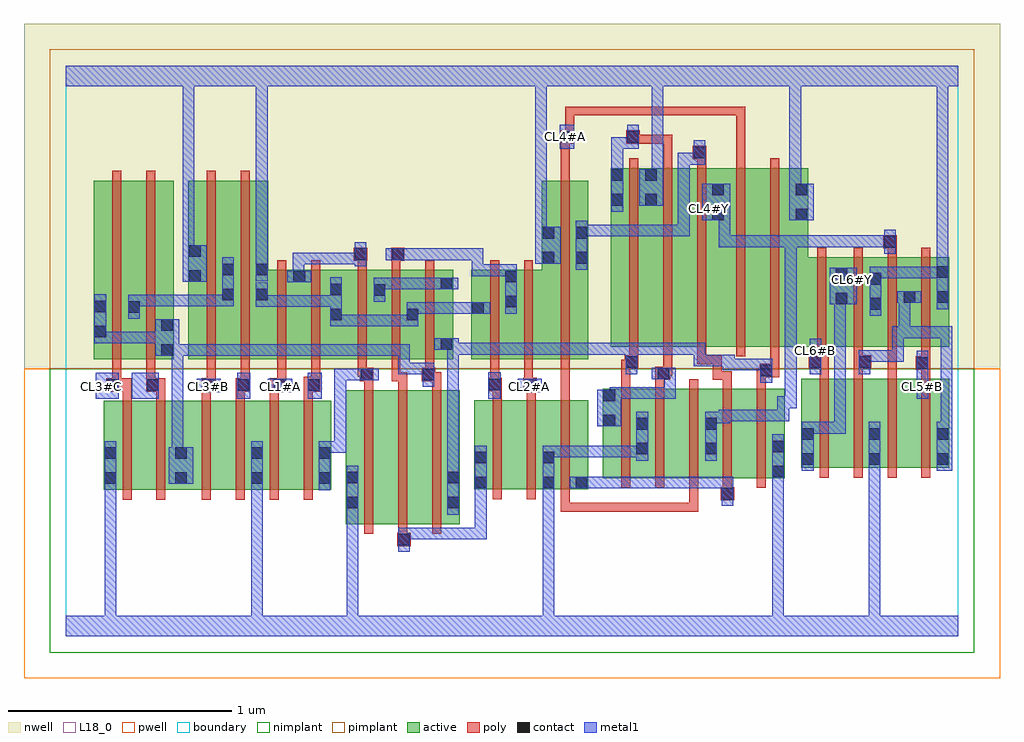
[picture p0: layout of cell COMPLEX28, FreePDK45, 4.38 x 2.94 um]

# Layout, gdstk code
import gdstk
lib = gdstk.Library(unit=1e-6, precision=1e-09)
def R(c, l, rs):  # rectangles x0, y0, x1, y1
    for r in rs: c.add(gdstk.rectangle(r[:2], r[2:], *l))
def A(c, l, x, y, w, h, nx, ny, dx, dy):  # array of equal rectangles
    R(c, l, [(x+i*dx, y+j*dy, x+i*dx+w, y+j*dy+h) for i in range(nx) for j in range(ny)])
active = (1, 0)
pwell = (2, 0)
nwell = (3, 0)
nimplant = (4, 0)
pimplant = (5, 0)
poly = (9, 0)
contact = (10, 0)
metal1 = (11, 0)
L18_0 = (18, 0)
boundary = (235, 0)

complex28 = lib.new_cell('COMPLEX28')
R(complex28, active, [(1.254,0.504,1.434,1.104), (1.434,0.504,1.586,1.104), (1.586,0.504,1.766,1.104), (1.254,0.556,1.314,1.104), (1.706,0.556,1.766,1.104), (0.17,0.658,0.35,1.058), (0.35,0.658,0.546,1.058), (0.486,0.658,0.706,1.058), (0.706,0.658,0.886,1.058), (0.826,0.658,1.01,1.058), (1.01,0.658,1.19,1.058), (1.83,0.66,1.89,1.06), (1.83,0.66,2.01,1.06), (2.01,0.66,2.194,1.06), (2.134,0.66,2.342,1.06), (2.134,0.66,2.194,0.832), (2.282,0.66,2.342,0.948), (0.17,0.68,0.23,1.058), (0.486,0.68,0.546,0.852), (0.826,0.68,0.886,1.058), (1.13,0.68,1.19,1.058), (2.406,0.71,2.614,1.11), (2.554,0.71,2.738,1.11), (2.738,0.71,2.922,1.11), (2.862,0.71,3.042,1.11), (3.042,0.71,3.222,1.11), (3.162,0.71,3.222,1.11), (2.406,0.756,2.466,1.11), (2.554,0.756,2.614,0.984), (2.862,0.756,2.922,0.984), (3.296,0.756,3.356,1.156), (3.296,0.756,3.476,1.156), (3.476,0.756,3.656,1.156), (3.596,0.756,3.656,1.156), (3.596,0.756,3.78,1.156), (3.78,0.756,3.96,1.156), (3.9,0.756,3.96,1.156), (0.124,1.244,0.336,2.044), (0.124,1.244,0.184,2.044), (0.276,1.244,0.484,2.044), (0.424,1.244,0.484,2.044), (0.548,1.244,0.756,2.044), (0.696,1.244,0.908,2.044), (0.696,1.244,0.756,2.044), (0.848,1.244,1.076,1.644), (0.848,1.244,0.908,1.676), (1.016,1.244,1.076,1.644), (1.016,1.244,1.24,1.644), (1.18,1.244,1.24,1.644), (1.18,1.244,1.436,1.644), (1.376,1.244,1.436,1.644), (1.376,1.244,1.584,1.644), (1.524,1.244,1.584,1.644), (1.524,1.244,1.736,1.644), (1.676,1.244,1.736,1.644), (1.818,1.244,1.878,1.644), (1.818,1.244,2.026,1.644), (1.966,1.244,2.026,1.644), (1.966,1.244,2.194,1.644), (2.134,1.244,2.342,2.044), (2.134,1.244,2.194,2.044), (2.282,1.244,2.342,2.044), (2.442,1.3,2.654,2.1), (2.442,1.3,2.502,2.1), (2.594,1.3,2.774,2.1), (2.774,1.3,2.954,2.1), (2.894,1.3,3.102,2.1), (3.102,1.3,3.328,2.1), (3.268,1.3,3.508,1.7), (3.448,1.3,3.66,1.7), (3.448,1.3,3.508,1.658), (3.6,1.3,3.66,1.654), (3.6,1.3,3.812,1.7), (3.752,1.3,3.96,1.7), (3.752,1.3,3.812,1.644), (3.9,1.3,3.96,1.664), (0.276,1.448,0.336,2.044), (0.548,1.452,0.608,2.044), (2.594,1.55,2.654,2.1), (2.894,1.65,2.954,2.1), (3.268,1.7,3.328,2.034)])
R(complex28, pwell, [(-0.188,-0.188,4.188,1.2)])
R(complex28, nwell, [(-0.188,1.2,4.188,2.748)])
R(complex28, nimplant, [(-0.072,-0.072,4.072,1.2)])
R(complex28, pimplant, [(-0.072,1.2,4.072,2.632)])
A(complex28, poly, 1.338, 0.46, 0.04, 0.688, 3, 1, 0.152, 0)
A(complex28, poly, 0.61, 0.614, 0.04, 0.488, 4, 1, 0.152, 0)
A(complex28, poly, 1.914, 0.616, 0.04, 0.488, 3, 1, 0.152, 0)
A(complex28, poly, 2.49, 0.666, 0.04, 0.488, 5, 1, 0.152, 0)
A(complex28, poly, 3.38, 0.712, 0.04, 0.488, 4, 1, 0.152, 0)
A(complex28, poly, 0.61, 1.062, 0.04, 0.076, 4, 1, 0.152, 0)
A(complex28, poly, 1.338, 1.108, 0.04, 0.076, 3, 1, 0.152, 0)
A(complex28, poly, 1.308, 1.2, 0.04, 0.488, 3, 1, 0.152, 0)
A(complex28, poly, 2.526, 1.256, 0.04, 0.888, 3, 1, 0.152, 0)
A(complex28, poly, 3.532, 1.256, 0.04, 0.488, 3, 1, 0.152, 0)
R(complex28, poly, [(1.486,0.404,1.546,0.464), (1.49,0.424,1.53,0.5), (2.218,0.56,2.258,0.6), (2.218,0.56,2.258,0.6), (2.218,0.56,2.258,0.6), (2.218,0.56,2.384,0.6), (2.218,0.56,2.258,0.656), (2.344,0.56,2.384,0.6), (2.344,0.56,2.384,0.6), (2.344,0.56,2.384,0.6), (2.344,0.56,2.678,0.6), (2.638,0.56,2.678,0.6), (2.638,0.56,2.678,0.6), (2.638,0.56,2.678,0.6), (2.638,0.56,2.834,0.6), (2.794,0.56,2.834,0.6), (2.794,0.56,2.834,0.6), (2.794,0.56,2.834,0.6), (2.794,0.56,2.834,0.706), (2.936,0.61,2.996,0.67), (0.254,0.614,0.294,1.102), (0.406,0.614,0.446,1.102), (2.946,0.63,2.986,0.706), (0.254,1.062,0.294,1.138), (0.406,1.062,0.446,1.138), (1.914,1.064,1.954,1.14), (2.066,1.064,2.106,1.14), (2.218,1.064,2.258,1.146), (0.18,1.098,0.294,1.158), (0.36,1.098,0.446,1.158), (0.61,1.098,0.67,1.158), (0.762,1.098,0.824,1.158), (0.914,1.098,0.988,1.158), (1.066,1.098,1.14,1.164), (1.894,1.1,1.954,1.16), (2.05,1.1,2.11,1.16), (2.218,1.106,2.258,1.146), (2.218,1.106,2.258,1.146), (2.218,1.106,2.258,1.146), (2.218,1.106,2.258,1.24), (2.49,1.114,2.53,1.24), (2.642,1.114,2.682,1.19), (2.946,1.114,2.986,1.19), (3.098,1.114,3.138,1.202), (0.208,1.118,0.248,1.158), (0.208,1.118,0.248,1.158), (0.208,1.118,0.248,1.24), (0.36,1.118,0.4,1.158), (0.36,1.118,0.4,1.158), (0.36,1.118,0.4,1.24), (0.63,1.118,0.67,1.158), (0.63,1.118,0.672,1.158), (0.632,1.118,0.672,1.24), (0.784,1.118,0.824,1.158), (0.784,1.118,0.824,1.158), (0.784,1.118,0.824,1.24), (0.948,1.118,0.988,1.158), (0.948,1.118,0.988,1.158), (0.948,1.118,0.988,1.24), (1.902,1.12,1.942,1.16), (1.902,1.12,1.942,1.16), (1.902,1.12,1.942,1.24), (2.054,1.12,2.094,1.16), (2.054,1.12,2.094,1.16), (2.054,1.12,2.094,1.24), (1.1,1.124,1.14,1.164), (1.1,1.124,1.14,1.164), (1.1,1.124,1.14,1.24), (1.318,1.144,1.378,1.204), (1.46,1.144,1.5,1.24), (1.46,1.144,1.53,1.184), (1.49,1.144,1.53,1.184), (1.49,1.144,1.53,1.184), (1.596,1.144,1.656,1.204), (1.616,1.144,1.656,1.184), (1.616,1.144,1.682,1.184), (2.642,1.15,2.71,1.21), (2.9,1.15,2.94,1.19), (2.9,1.15,2.986,1.19), (2.9,1.15,2.94,1.26), (2.946,1.15,2.986,1.19), (3.38,1.16,3.42,1.24), (3.532,1.16,3.572,1.24), (3.684,1.16,3.724,1.26), (3.836,1.16,3.876,1.236), (3.098,1.162,3.15,1.202), (3.11,1.162,3.15,1.202), (3.11,1.162,3.198,1.222), (1.308,1.164,1.348,1.24), (1.308,1.164,1.358,1.204), (1.318,1.164,1.358,1.204), (1.612,1.164,1.652,1.24), (2.67,1.17,2.71,1.21), (2.67,1.17,2.718,1.21), (2.678,1.17,2.718,1.296), (3.158,1.182,3.198,1.296), (3.81,1.196,3.876,1.256), (0.208,1.2,0.248,2.088), (0.36,1.2,0.4,2.088), (0.632,1.2,0.672,2.088), (0.784,1.2,0.824,2.088), (0.948,1.2,0.988,1.688), (1.1,1.2,1.14,1.688), (1.902,1.2,1.942,1.688), (2.054,1.2,2.094,1.688), (2.218,1.2,2.258,2.088), (2.49,1.2,2.546,1.24), (2.506,1.2,2.546,1.24), (2.506,1.2,2.566,1.26), (3.33,1.2,3.42,1.26), (3.532,1.2,3.572,1.24), (3.532,1.2,3.572,1.24), (3.532,1.2,3.61,1.26), (3.836,1.216,3.876,1.296), (3.836,1.216,3.876,1.256), (3.836,1.216,3.876,1.256), (2.526,1.22,2.566,1.296), (2.83,1.22,2.87,1.26), (2.83,1.22,2.87,1.296), (2.83,1.22,2.94,1.26), (2.9,1.22,2.94,1.26), (3.368,1.22,3.408,1.26), (3.368,1.22,3.408,1.26), (3.368,1.22,3.408,1.296), (3.532,1.22,3.572,1.296), (3.684,1.22,3.724,1.26), (3.684,1.22,3.724,1.26), (3.684,1.22,3.724,1.26), (3.684,1.22,3.724,1.296), (3.006,1.256,3.046,2.144), (3.158,1.256,3.198,2.144), (3.368,1.256,3.408,1.744), (1.308,1.648,1.348,1.724), (1.46,1.648,1.5,1.724), (1.29,1.684,1.35,1.744), (1.458,1.684,1.518,1.744), (3.684,1.704,3.724,1.78), (3.664,1.74,3.724,1.8), (2.218,2.048,2.258,2.25), (2.678,2.104,2.718,2.25), (2.83,2.104,2.87,2.18), (3.006,2.104,3.046,2.376), (2.81,2.14,2.87,2.2), (2.218,2.21,2.278,2.27), (2.512,2.21,2.572,2.27), (2.532,2.21,2.718,2.25), (2.678,2.21,2.718,2.25), (2.678,2.21,2.718,2.25), (2.678,2.21,2.718,2.25), (2.238,2.23,2.278,2.376), (2.238,2.336,2.278,2.376), (2.238,2.336,2.278,2.376), (2.238,2.336,2.278,2.376), (2.238,2.336,2.422,2.376), (2.382,2.336,2.422,2.376), (2.382,2.336,2.422,2.376), (2.382,2.336,2.422,2.376), (2.382,2.336,2.728,2.376), (2.688,2.336,2.728,2.376), (2.688,2.336,2.728,2.376), (2.688,2.336,2.728,2.376), (2.688,2.336,2.834,2.376), (2.794,2.336,2.834,2.376), (2.794,2.336,2.834,2.376), (2.794,2.336,2.834,2.376), (2.794,2.336,2.976,2.376), (2.936,2.336,2.976,2.376), (2.936,2.336,2.976,2.376), (2.936,2.336,2.976,2.376), (2.936,2.336,3.046,2.376), (3.006,2.336,3.046,2.376)])
R(complex28, contact, [(1.49,0.408,1.542,0.46), (1.258,0.574,1.31,0.626), (1.71,0.574,1.762,0.626), (2.94,0.614,2.992,0.666), (1.834,0.664,1.886,0.716), (2.138,0.664,2.19,0.716), (2.286,0.664,2.338,0.716), (0.174,0.684,0.226,0.736), (0.49,0.684,0.542,0.736), (0.83,0.684,0.882,0.736), (1.134,0.684,1.186,0.736), (1.258,0.686,1.31,0.738), (1.71,0.686,1.762,0.738), (3.166,0.714,3.218,0.766), (3.3,0.77,3.352,0.822), (3.6,0.77,3.652,0.822), (3.904,0.77,3.956,0.822), (1.834,0.776,1.886,0.828), (2.138,0.776,2.19,0.828), (0.174,0.796,0.226,0.848), (0.49,0.796,0.542,0.848), (0.83,0.796,0.882,0.848), (1.134,0.796,1.186,0.848), (2.558,0.816,2.61,0.868), (2.866,0.816,2.918,0.868), (3.166,0.826,3.218,0.878), (3.3,0.882,3.352,0.934), (3.6,0.882,3.652,0.934), (3.904,0.882,3.956,0.934), (2.558,0.928,2.61,0.98), (2.866,0.928,2.918,0.98), (2.41,0.942,2.462,0.994), (2.41,1.054,2.462,1.106), (0.184,1.102,0.236,1.154), (0.364,1.102,0.416,1.154), (0.614,1.102,0.666,1.154), (0.768,1.102,0.82,1.154), (0.932,1.102,0.984,1.154), (1.084,1.102,1.136,1.154), (1.898,1.104,1.95,1.156), (2.054,1.104,2.106,1.156), (1.322,1.148,1.374,1.2), (1.6,1.148,1.652,1.2), (2.654,1.154,2.706,1.206), (3.114,1.166,3.166,1.218), (3.814,1.2,3.866,1.252), (2.51,1.204,2.562,1.256), (3.334,1.204,3.386,1.256), (3.554,1.204,3.606,1.256), (0.428,1.258,0.48,1.31), (1.68,1.286,1.732,1.338), (0.128,1.342,0.18,1.394), (0.428,1.37,0.48,1.422), (1.184,1.418,1.236,1.47), (1.528,1.418,1.58,1.47), (1.822,1.446,1.874,1.498), (0.28,1.452,0.332,1.504), (0.128,1.454,0.18,1.506), (3.604,1.466,3.656,1.518), (1.97,1.476,2.022,1.528), (3.452,1.49,3.504,1.542), (3.756,1.496,3.808,1.548), (3.904,1.496,3.956,1.548), (0.7,1.508,0.752,1.56), (0.852,1.508,0.904,1.56), (1.38,1.528,1.432,1.58), (1.184,1.53,1.236,1.582), (1.68,1.556,1.732,1.608), (3.604,1.578,3.656,1.63), (1.02,1.588,1.072,1.64), (1.97,1.588,2.022,1.64), (0.552,1.59,0.604,1.642), (3.452,1.602,3.504,1.654), (3.904,1.608,3.956,1.66), (0.7,1.62,0.752,1.672), (0.852,1.62,0.904,1.672), (2.138,1.672,2.19,1.724), (2.286,1.672,2.338,1.724), (1.294,1.688,1.346,1.74), (1.462,1.688,1.514,1.74), (0.552,1.702,0.604,1.754), (3.668,1.744,3.72,1.796), (2.138,1.784,2.19,1.836), (2.286,1.784,2.338,1.836), (2.898,1.866,2.95,1.918), (3.272,1.866,3.324,1.918), (2.446,1.932,2.498,1.984), (2.598,1.932,2.65,1.984), (2.898,1.978,2.95,2.03), (3.272,1.978,3.324,2.03), (2.446,2.044,2.498,2.096), (2.598,2.044,2.65,2.096), (2.814,2.144,2.866,2.196), (2.222,2.214,2.274,2.266), (2.516,2.214,2.568,2.266)])
R(complex28, metal1, [(0,0,4,0.092), (0.174,0.04,0.226,0.092), (0.174,0.04,0.226,0.092), (0.174,0.04,0.226,0.092), (0.174,0.04,0.226,0.092), (0.174,0.04,0.226,0.092), (0.174,0.04,0.226,0.092), (0.174,0.04,0.226,0.092), (0.174,0.04,0.226,0.092), (0.174,0.04,0.226,0.708), (0.83,0.04,0.882,0.092), (0.83,0.04,0.882,0.092), (0.83,0.04,0.882,0.092), (0.83,0.04,0.882,0.092), (0.83,0.04,0.882,0.092), (0.83,0.04,0.882,0.092), (0.83,0.04,0.882,0.092), (0.83,0.04,0.882,0.092), (0.83,0.04,0.882,0.092), (0.83,0.04,0.882,0.092), (0.83,0.04,0.882,0.708), (1.258,0.04,1.31,0.092), (1.258,0.04,1.31,0.092), (1.258,0.04,1.31,0.092), (1.258,0.04,1.31,0.092), (1.258,0.04,1.31,0.092), (1.258,0.04,1.31,0.092), (1.258,0.04,1.31,0.092), (1.258,0.04,1.31,0.092), (1.258,0.04,1.31,0.598), (2.138,0.04,2.19,0.092), (2.138,0.04,2.19,0.092), (2.138,0.04,2.19,0.092), (2.138,0.04,2.19,0.092), (2.138,0.04,2.19,0.092), (2.138,0.04,2.19,0.092), (2.138,0.04,2.19,0.092), (2.138,0.04,2.19,0.092), (2.138,0.04,2.19,0.092), (2.138,0.04,2.19,0.092), (2.138,0.04,2.19,0.688), (3.166,0.04,3.218,0.092), (3.166,0.04,3.218,0.092), (3.166,0.04,3.218,0.092), (3.166,0.04,3.218,0.092), (3.166,0.04,3.218,0.092), (3.166,0.04,3.218,0.092), (3.166,0.04,3.218,0.092), (3.166,0.04,3.218,0.092), (3.166,0.04,3.218,0.092), (3.166,0.04,3.218,0.092), (3.166,0.04,3.218,0.738), (3.6,0.04,3.652,0.092), (3.6,0.04,3.652,0.092), (3.6,0.04,3.652,0.092), (3.6,0.04,3.652,0.092), (3.6,0.04,3.652,0.092), (3.6,0.04,3.652,0.092), (3.6,0.04,3.652,0.092), (3.6,0.04,3.652,0.092), (3.6,0.04,3.652,0.092), (3.6,0.04,3.652,0.092), (3.6,0.04,3.652,0.092), (3.6,0.04,3.652,0.092), (3.6,0.04,3.652,0.794), (1.49,0.38,1.542,0.488), (1.49,0.436,1.542,0.488), (1.49,0.436,1.542,0.488), (1.49,0.436,1.69,0.488), (1.638,0.436,1.69,0.488), (1.638,0.436,1.69,0.488), (1.638,0.436,1.69,0.488), (1.638,0.436,1.886,0.488), (1.834,0.436,1.886,0.488), (1.834,0.436,1.886,0.488), (1.834,0.436,1.886,0.488), (1.834,0.436,1.886,0.488), (1.834,0.436,1.886,0.488), (1.834,0.436,1.886,0.688), (1.258,0.546,1.31,0.766), (1.71,0.546,1.762,0.766), (2.94,0.586,2.992,0.694), (1.834,0.636,1.886,0.856), (2.138,0.636,2.19,0.688), (2.138,0.636,2.19,0.688), (2.138,0.636,2.19,0.856), (2.94,0.642,2.992,0.694), (2.94,0.642,2.992,0.702), (2.94,0.65,2.992,0.702), (2.94,0.65,2.992,0.716), (0.174,0.656,0.226,0.708), (0.174,0.656,0.226,0.708), (0.174,0.656,0.226,0.708), (0.174,0.656,0.226,0.708), (0.174,0.656,0.226,0.876), (0.83,0.656,0.882,0.708), (0.83,0.656,0.882,0.708), (0.83,0.656,0.882,0.876), (1.134,0.656,1.186,0.876), (2.258,0.664,2.366,0.716), (2.314,0.664,2.366,0.716), (2.314,0.664,2.366,0.716), (2.314,0.664,2.55,0.716), (2.498,0.664,2.55,0.716), (2.498,0.664,2.61,0.716), (2.558,0.664,2.61,0.716), (2.558,0.664,2.756,0.716), (2.704,0.664,2.756,0.716), (2.704,0.664,2.756,0.716), (2.704,0.664,2.756,0.716), (2.704,0.664,2.868,0.716), (2.816,0.664,2.868,0.716), (2.816,0.664,2.992,0.716), (0.462,0.684,0.57,0.848), (3.166,0.686,3.218,0.738), (3.166,0.686,3.218,0.738), (3.166,0.686,3.218,0.906), (1.71,0.714,1.762,1.316), (3.3,0.742,3.352,0.962), (3.6,0.742,3.652,0.962), (3.904,0.742,3.974,0.962), (2.558,0.788,2.61,1.008), (2.866,0.788,2.918,1.008), (0.474,0.796,0.526,0.848), (0.474,0.796,0.526,0.848), (0.474,0.796,0.526,1.31), (2.138,0.804,2.19,0.856), (2.138,0.804,2.19,0.856), (2.138,0.804,2.19,0.856), (2.138,0.804,2.19,0.856), (2.138,0.804,2.38,0.856), (2.328,0.804,2.38,0.856), (2.328,0.804,2.5,0.856), (2.448,0.804,2.5,0.856), (2.448,0.804,2.5,0.856), (2.448,0.804,2.5,0.856), (2.448,0.804,2.61,0.856), (1.134,0.824,1.256,0.876), (1.204,0.824,1.256,0.876), (1.204,0.824,1.256,1.2), (3.3,0.91,3.496,0.962), (3.444,0.91,3.496,0.962), (3.444,0.91,3.496,0.962), (3.444,0.91,3.496,0.962), (3.444,0.91,3.496,0.962), (3.444,0.91,3.496,0.962), (3.444,0.91,3.496,0.962), (3.444,0.91,3.496,0.962), (3.444,0.91,3.496,1.542), (3.922,0.91,3.974,0.962), (3.922,0.91,3.974,0.962), (3.922,0.91,3.974,1.39), (2.382,0.942,2.49,1.106), (2.866,0.956,2.978,1.008), (2.926,0.956,2.978,1.016), (2.926,0.964,3.108,1.016), (3.056,0.964,3.108,1.016), (3.056,0.964,3.108,1.016), (3.056,0.964,3.108,1.016), (3.056,0.964,3.242,1.016), (3.19,0.964,3.242,1.016), (3.19,0.964,3.242,1.076), (3.19,1.024,3.276,1.076), (3.224,1.024,3.276,1.798), (2.438,1.054,2.49,1.106), (2.438,1.054,2.49,1.118), (0.134,1.066,0.236,1.182), (0.294,1.066,0.416,1.182), (0.768,1.066,0.826,1.182), (1.084,1.066,1.146,1.182), (1.894,1.066,1.95,1.184), (2.438,1.066,2.61,1.118), (2.558,1.066,2.61,1.118), (2.558,1.066,2.734,1.118), (2.682,1.066,2.734,1.118), (2.682,1.066,2.734,1.118), (2.682,1.066,2.734,1.118), (2.682,1.066,2.734,1.206), (3.814,1.066,3.866,1.28), (0.586,1.094,0.694,1.156), (0.904,1.094,1.014,1.156), (2.026,1.094,2.134,1.156), (1.6,1.12,1.652,1.228), (3.114,1.138,3.166,1.246), (1.204,1.148,1.256,1.2), (1.204,1.148,1.346,1.2), (1.294,1.148,1.402,1.2), (2.626,1.154,2.734,1.206), (2.682,1.154,2.734,1.206), (2.682,1.154,2.734,1.206), (1.49,1.176,1.542,1.228), (1.49,1.176,1.542,1.228), (1.49,1.176,1.652,1.228), (1.49,1.176,1.542,1.31), (2.51,1.176,2.562,1.316), (3.334,1.176,3.386,1.334), (3.554,1.176,3.606,1.284), (2.946,1.194,2.998,1.246), (2.946,1.194,2.998,1.246), (2.946,1.194,3.108,1.246), (2.946,1.194,2.998,1.264), (3.056,1.194,3.108,1.246), (3.056,1.194,3.166,1.246), (2.814,1.212,2.998,1.264), (2.814,1.212,2.866,1.316), (3.554,1.232,3.606,1.284), (3.554,1.232,3.606,1.284), (3.554,1.232,3.756,1.284), (3.704,1.232,3.756,1.39), (0.4,1.258,0.508,1.422), (0.456,1.258,0.508,1.31), (0.456,1.258,0.526,1.31), (0.474,1.258,0.526,1.31), (0.474,1.258,0.526,1.31), (0.474,1.258,0.636,1.31), (0.584,1.258,0.636,1.31), (0.584,1.258,0.772,1.31), (0.72,1.258,0.772,1.31), (0.72,1.258,0.772,1.31), (0.72,1.258,0.772,1.31), (0.72,1.258,0.882,1.31), (0.83,1.258,0.882,1.31), (0.83,1.258,0.882,1.31), (0.83,1.258,0.882,1.31), (0.83,1.258,1.014,1.31), (0.962,1.258,1.014,1.31), (0.962,1.258,1.014,1.31), (0.962,1.258,1.014,1.31), (0.962,1.258,1.178,1.31), (1.126,1.258,1.178,1.31), (1.126,1.258,1.178,1.31), (1.126,1.258,1.178,1.31), (1.126,1.258,1.366,1.31), (1.314,1.258,1.366,1.31), (1.314,1.258,1.366,1.31), (1.314,1.258,1.366,1.31), (1.314,1.258,1.542,1.31), (1.71,1.264,1.762,1.316), (1.71,1.264,1.762,1.316), (1.71,1.264,1.912,1.316), (1.71,1.264,1.762,1.338), (1.86,1.264,1.912,1.316), (1.86,1.264,1.912,1.316), (1.86,1.264,1.912,1.316), (1.86,1.264,2.022,1.316), (1.97,1.264,2.022,1.316), (1.97,1.264,2.022,1.316), (1.97,1.264,2.022,1.316), (1.97,1.264,2.2,1.316), (2.148,1.264,2.2,1.316), (2.148,1.264,2.2,1.316), (2.148,1.264,2.2,1.316), (2.148,1.264,2.38,1.316), (2.328,1.264,2.38,1.316), (2.328,1.264,2.38,1.316), (2.328,1.264,2.38,1.316), (2.328,1.264,2.562,1.316), (2.51,1.264,2.61,1.316), (2.558,1.264,2.61,1.316), (2.558,1.264,2.742,1.316), (2.69,1.264,2.742,1.316), (2.69,1.264,2.742,1.316), (2.69,1.264,2.742,1.316), (2.69,1.264,2.866,1.316), (1.652,1.286,1.762,1.338), (1.71,1.286,1.762,1.338), (0.128,1.314,0.18,1.366), (0.128,1.314,0.18,1.366), (0.128,1.314,0.18,1.534), (0.128,1.314,0.29,1.366), (0.238,1.314,0.29,1.366), (0.238,1.314,0.29,1.366), (0.238,1.314,0.29,1.366), (0.238,1.314,0.452,1.366), (3.704,1.338,3.786,1.39), (3.734,1.338,3.786,1.39), (3.734,1.338,3.974,1.39), (3.734,1.338,3.786,1.548), (3.922,1.338,3.974,1.39), (3.922,1.338,3.974,1.39), (3.922,1.338,3.974,1.39), (1.184,1.39,1.236,1.442), (1.184,1.39,1.236,1.442), (1.184,1.39,1.236,1.61), (1.184,1.39,1.366,1.442), (1.314,1.39,1.366,1.442), (1.314,1.39,1.366,1.442), (1.314,1.39,1.366,1.442), (1.314,1.39,1.542,1.442), (1.49,1.39,1.542,1.442), (1.49,1.39,1.58,1.442), (1.528,1.39,1.58,1.498), (0.28,1.424,0.332,1.532), (3.604,1.438,3.656,1.658), (1.528,1.446,1.58,1.498), (1.528,1.446,1.58,1.498), (1.528,1.446,1.69,1.498), (1.638,1.446,1.69,1.498), (1.638,1.446,1.69,1.498), (1.638,1.446,1.69,1.498), (1.638,1.446,1.846,1.498), (1.794,1.446,1.902,1.498), (1.97,1.448,2.022,1.668), (3.904,1.468,3.956,1.688), (0.852,1.478,1.068,1.53), (0.852,1.478,0.904,1.532), (1.016,1.478,1.068,1.53), (1.016,1.478,1.068,1.53), (1.016,1.478,1.068,1.53), (1.016,1.478,1.236,1.53), (0.28,1.48,0.332,1.532), (0.28,1.48,0.332,1.532), (0.28,1.48,0.442,1.532), (0.39,1.48,0.442,1.532), (0.39,1.48,0.636,1.532), (0.584,1.48,0.636,1.532), (0.584,1.48,0.636,1.532), (0.584,1.48,0.636,1.532), (0.584,1.48,0.752,1.532), (0.7,1.48,0.752,1.7), (0.852,1.48,0.904,1.532), (0.852,1.48,0.904,1.588), (3.424,1.49,3.546,1.654), (3.444,1.49,3.496,1.542), (3.444,1.49,3.496,1.542), (3.728,1.496,3.836,1.548), (1.38,1.5,1.432,1.608), (1.38,1.556,1.542,1.608), (1.49,1.556,1.542,1.608), (1.49,1.556,1.542,1.608), (1.49,1.556,1.542,1.608), (1.49,1.556,1.704,1.608), (1.652,1.556,1.704,1.608), (1.652,1.556,1.704,1.608), (1.652,1.556,1.76,1.608), (0.992,1.588,1.1,1.64), (1.016,1.588,1.068,1.72), (0.524,1.59,0.632,1.754), (0.852,1.592,0.904,1.7), (3.604,1.606,3.756,1.658), (3.704,1.606,3.756,1.658), (3.704,1.606,3.766,1.658), (3.714,1.606,3.766,1.658), (3.714,1.606,3.956,1.658), (3.904,1.606,3.956,1.658), (3.904,1.606,3.956,1.658), (1.82,1.616,1.872,1.668), (1.82,1.616,1.872,1.668), (1.82,1.616,1.872,1.668), (1.82,1.616,2.022,1.668), (1.82,1.616,1.872,1.74), (3.904,1.636,3.956,1.688), (3.904,1.636,3.956,1.688), (3.904,1.636,3.956,1.688), (3.904,1.636,3.956,1.688), (3.904,1.636,3.956,1.688), (3.904,1.636,3.956,1.688), (3.904,1.636,3.956,1.688), (3.904,1.636,3.956,1.688), (3.904,1.636,3.956,1.688), (3.904,1.636,3.956,1.688), (3.904,1.636,3.956,2.52), (2.286,1.644,2.338,1.864), (0.852,1.648,0.904,1.7), (0.852,1.648,0.904,1.7), (0.852,1.648,0.904,2.52), (1.294,1.66,1.346,1.768), (1.016,1.668,1.068,1.72), (1.016,1.668,1.068,1.72), (1.016,1.668,1.068,1.72), (1.016,1.668,1.236,1.72), (1.184,1.668,1.236,1.72), (1.184,1.668,1.236,1.72), (1.184,1.668,1.236,1.72), (1.184,1.668,1.346,1.72), (2.104,1.672,2.218,1.836), (1.434,1.688,1.542,1.74), (1.49,1.688,1.542,1.74), (1.49,1.688,1.542,1.74), (1.49,1.688,1.69,1.74), (1.638,1.688,1.69,1.74), (1.638,1.688,1.69,1.74), (1.638,1.688,1.69,1.74), (1.638,1.688,1.872,1.74), (1.82,1.688,1.872,1.74), (0.524,1.702,0.576,1.754), (0.524,1.702,0.576,1.754), (0.524,1.702,0.576,1.754), (0.524,1.702,0.576,1.754), (0.524,1.702,0.576,1.754), (0.524,1.702,0.576,1.754), (0.524,1.702,0.576,2.52), (3.668,1.716,3.72,1.824), (2.926,1.746,2.978,1.798), (2.926,1.746,2.978,1.798), (2.926,1.746,2.978,1.798), (2.926,1.746,3.108,1.798), (2.926,1.746,2.978,1.918), (3.056,1.746,3.108,1.798), (3.056,1.746,3.108,1.798), (3.056,1.746,3.108,1.798), (3.056,1.746,3.276,1.798), (3.224,1.746,3.276,1.798), (3.224,1.746,3.276,1.798), (3.224,1.746,3.276,1.798), (3.224,1.746,3.276,1.798), (3.224,1.746,3.276,1.798), (3.224,1.746,3.276,1.798), (3.224,1.746,3.276,1.798), (3.224,1.746,3.276,1.798), (3.224,1.746,3.276,1.798), (3.224,1.746,3.276,1.798), (3.224,1.746,3.276,1.798), (3.224,1.746,3.276,1.798), (3.224,1.746,3.276,1.798), (3.224,1.746,3.276,1.798), (3.224,1.746,3.276,1.798), (3.224,1.746,3.276,1.798), (3.224,1.746,3.276,1.798), (3.224,1.746,3.276,1.798), (3.224,1.746,3.276,1.798), (3.224,1.746,3.466,1.798), (3.414,1.746,3.466,1.798), (3.414,1.746,3.466,1.798), (3.414,1.746,3.466,1.798), (3.414,1.746,3.466,1.798), (3.414,1.746,3.466,1.798), (3.414,1.746,3.606,1.798), (3.554,1.746,3.606,1.798), (3.554,1.746,3.606,1.798), (3.554,1.746,3.606,1.798), (3.554,1.746,3.72,1.798), (2.104,1.784,2.156,2.52), (2.286,1.794,2.338,1.846), (2.286,1.794,2.338,1.846), (2.286,1.794,2.568,1.846), (2.516,1.794,2.568,1.846), (2.516,1.794,2.61,1.846), (2.558,1.794,2.61,1.846), (2.558,1.794,2.678,1.846), (2.626,1.794,2.678,1.846), (2.626,1.794,2.796,1.846), (2.744,1.794,2.796,1.846), (2.744,1.794,2.796,1.846), (2.744,1.794,2.796,1.846), (2.744,1.794,2.796,2.168), (2.854,1.866,2.978,2.03), (3.244,1.866,3.352,2.03), (2.446,1.904,2.498,2.124), (2.57,1.932,2.678,2.096), (3.244,1.978,3.296,2.03), (3.244,1.978,3.296,2.03), (3.244,1.978,3.296,2.03), (3.244,1.978,3.296,2.03), (3.244,1.978,3.296,2.03), (3.244,1.978,3.296,2.03), (3.244,1.978,3.296,2.03), (3.244,1.978,3.296,2.03), (3.244,1.978,3.296,2.52), (2.626,2.044,2.678,2.096), (2.626,2.044,2.678,2.096), (2.626,2.044,2.678,2.52), (2.446,2.072,2.498,2.238), (2.744,2.116,2.796,2.168), (2.744,2.116,2.866,2.168), (2.814,2.116,2.866,2.224), (2.214,2.186,2.278,2.294), (2.446,2.186,2.498,2.238), (2.446,2.186,2.568,2.238), (2.516,2.186,2.568,2.294), (0,2.468,4,2.56), (0.524,2.468,0.576,2.52), (0.524,2.468,0.576,2.52), (0.852,2.468,0.904,2.52), (0.852,2.468,0.904,2.52), (0.852,2.468,0.904,2.52), (0.852,2.468,0.904,2.52), (0.852,2.468,0.904,2.52), (0.852,2.468,0.904,2.52), (2.104,2.468,2.156,2.52), (2.104,2.468,2.156,2.52), (2.104,2.468,2.156,2.52), (2.104,2.468,2.156,2.52), (2.104,2.468,2.156,2.52), (2.104,2.468,2.156,2.52), (2.104,2.468,2.156,2.52), (2.104,2.468,2.156,2.52), (2.626,2.468,2.678,2.52), (2.626,2.468,2.678,2.52), (2.626,2.468,2.678,2.52), (2.626,2.468,2.678,2.52), (2.626,2.468,2.678,2.52), (2.626,2.468,2.678,2.52), (3.904,2.468,3.956,2.52), (3.904,2.468,3.956,2.52), (3.904,2.468,3.956,2.52), (3.904,2.468,3.956,2.52), (3.904,2.468,3.956,2.52), (3.904,2.468,3.956,2.52)])
A(complex28, L18_0, 0.614, 1.094, 0.052, 0.052, 4, 1, 0.16, 0)
R(complex28, L18_0, [(0,0,4,0.092), (0.174,0.04,0.226,0.092), (0.174,0.04,0.226,0.092), (0.174,0.04,0.226,0.092), (0.174,0.04,0.226,0.092), (0.174,0.04,0.226,0.092), (0.174,0.04,0.226,0.092), (0.174,0.04,0.226,0.092), (0.174,0.04,0.226,0.092), (0.174,0.04,0.226,0.708), (0.83,0.04,0.882,0.092), (0.83,0.04,0.882,0.092), (0.83,0.04,0.882,0.092), (0.83,0.04,0.882,0.092), (0.83,0.04,0.882,0.092), (0.83,0.04,0.882,0.092), (0.83,0.04,0.882,0.092), (0.83,0.04,0.882,0.092), (0.83,0.04,0.882,0.092), (0.83,0.04,0.882,0.092), (0.83,0.04,0.882,0.708), (1.258,0.04,1.31,0.092), (1.258,0.04,1.31,0.092), (1.258,0.04,1.31,0.092), (1.258,0.04,1.31,0.092), (1.258,0.04,1.31,0.092), (1.258,0.04,1.31,0.092), (1.258,0.04,1.31,0.092), (1.258,0.04,1.31,0.092), (1.258,0.04,1.31,0.598), (2.138,0.04,2.19,0.092), (2.138,0.04,2.19,0.092), (2.138,0.04,2.19,0.092), (2.138,0.04,2.19,0.092), (2.138,0.04,2.19,0.092), (2.138,0.04,2.19,0.092), (2.138,0.04,2.19,0.092), (2.138,0.04,2.19,0.092), (2.138,0.04,2.19,0.092), (2.138,0.04,2.19,0.092), (2.138,0.04,2.19,0.688), (3.166,0.04,3.218,0.092), (3.166,0.04,3.218,0.092), (3.166,0.04,3.218,0.092), (3.166,0.04,3.218,0.092), (3.166,0.04,3.218,0.092), (3.166,0.04,3.218,0.092), (3.166,0.04,3.218,0.092), (3.166,0.04,3.218,0.092), (3.166,0.04,3.218,0.092), (3.166,0.04,3.218,0.092), (3.166,0.04,3.218,0.738), (3.6,0.04,3.652,0.092), (3.6,0.04,3.652,0.092), (3.6,0.04,3.652,0.092), (3.6,0.04,3.652,0.092), (3.6,0.04,3.652,0.092), (3.6,0.04,3.652,0.092), (3.6,0.04,3.652,0.092), (3.6,0.04,3.652,0.092), (3.6,0.04,3.652,0.092), (3.6,0.04,3.652,0.092), (3.6,0.04,3.652,0.092), (3.6,0.04,3.652,0.092), (3.6,0.04,3.652,0.794), (1.258,0.546,1.31,0.766), (2.138,0.636,2.19,0.688), (2.138,0.636,2.19,0.688), (2.138,0.636,2.19,0.856), (0.174,0.656,0.226,0.708), (0.174,0.656,0.226,0.708), (0.174,0.656,0.226,0.708), (0.174,0.656,0.226,0.708), (0.174,0.656,0.226,0.876), (0.83,0.656,0.882,0.708), (0.83,0.656,0.882,0.708), (0.83,0.656,0.882,0.876), (3.166,0.686,3.218,0.738), (3.166,0.686,3.218,0.738), (3.166,0.686,3.218,0.906), (3.3,0.742,3.352,0.962), (3.6,0.742,3.652,0.962), (2.558,0.788,2.61,1.008), (2.866,0.788,2.918,1.008), (2.138,0.804,2.19,0.856), (2.138,0.804,2.19,0.856), (2.138,0.804,2.19,0.856), (2.138,0.804,2.19,0.856), (2.138,0.804,2.38,0.856), (2.328,0.804,2.38,0.856), (2.328,0.804,2.5,0.856), (2.448,0.804,2.5,0.856), (2.448,0.804,2.5,0.856), (2.448,0.804,2.5,0.856), (2.448,0.804,2.61,0.856), (3.3,0.91,3.496,0.962), (3.444,0.91,3.496,0.962), (3.444,0.91,3.496,0.962), (3.444,0.91,3.496,0.962), (3.444,0.91,3.496,0.962), (3.444,0.91,3.496,0.962), (3.444,0.91,3.496,0.962), (3.444,0.91,3.496,0.962), (3.444,0.91,3.496,1.542), (2.866,0.956,2.978,1.008), (2.926,0.956,2.978,1.016), (2.926,0.964,3.108,1.016), (3.056,0.964,3.108,1.016), (3.056,0.964,3.108,1.016), (3.056,0.964,3.108,1.016), (3.056,0.964,3.242,1.016), (3.19,0.964,3.242,1.016), (3.19,0.964,3.242,1.076), (3.19,1.024,3.276,1.076), (3.224,1.024,3.276,1.798), (0.134,1.066,0.236,1.182), (0.294,1.066,0.416,1.182), (0.768,1.066,0.826,1.182), (1.084,1.066,1.146,1.182), (1.894,1.066,1.95,1.184), (3.814,1.066,3.866,1.28), (0.134,1.094,0.186,1.146), (0.294,1.094,0.346,1.146), (0.586,1.094,0.694,1.156), (0.904,1.094,1.014,1.156), (1.894,1.094,1.946,1.146), (2.026,1.094,2.134,1.156), (2.054,1.094,2.106,1.146), (3.814,1.094,3.866,1.146), (3.334,1.176,3.386,1.334), (3.334,1.254,3.386,1.306), (1.184,1.39,1.236,1.442), (1.184,1.39,1.236,1.442), (1.184,1.39,1.236,1.61), (1.184,1.39,1.366,1.442), (1.314,1.39,1.366,1.442), (1.314,1.39,1.366,1.442), (1.314,1.39,1.366,1.442), (1.314,1.39,1.542,1.442), (1.49,1.39,1.542,1.442), (1.49,1.39,1.58,1.442), (1.528,1.39,1.58,1.498), (3.604,1.438,3.656,1.658), (1.528,1.446,1.58,1.498), (1.528,1.446,1.58,1.498), (1.528,1.446,1.69,1.498), (1.638,1.446,1.69,1.498), (1.638,1.446,1.69,1.498), (1.638,1.446,1.69,1.498), (1.638,1.446,1.846,1.498), (1.794,1.446,1.902,1.498), (3.904,1.468,3.956,1.688), (0.852,1.478,0.904,1.532), (0.852,1.478,1.068,1.53), (1.016,1.478,1.068,1.53), (1.016,1.478,1.068,1.53), (1.016,1.478,1.068,1.53), (1.016,1.478,1.236,1.53), (0.852,1.48,0.904,1.532), (0.852,1.48,0.904,1.588), (3.424,1.49,3.546,1.654), (3.444,1.49,3.496,1.542), (3.444,1.49,3.496,1.542), (3.494,1.574,3.546,1.626), (0.524,1.59,0.632,1.754), (0.852,1.592,0.904,1.7), (3.604,1.606,3.756,1.658), (3.704,1.606,3.756,1.658), (3.704,1.606,3.766,1.658), (3.714,1.606,3.766,1.658), (3.714,1.606,3.956,1.658), (3.904,1.606,3.956,1.658), (3.904,1.606,3.956,1.658), (3.904,1.636,3.956,1.688), (3.904,1.636,3.956,1.688), (3.904,1.636,3.956,1.688), (3.904,1.636,3.956,1.688), (3.904,1.636,3.956,1.688), (3.904,1.636,3.956,1.688), (3.904,1.636,3.956,1.688), (3.904,1.636,3.956,1.688), (3.904,1.636,3.956,1.688), (3.904,1.636,3.956,1.688), (3.904,1.636,3.956,2.52), (0.852,1.648,0.904,1.7), (0.852,1.648,0.904,1.7), (0.852,1.648,0.904,2.52), (2.104,1.672,2.218,1.836), (0.524,1.702,0.576,1.754), (0.524,1.702,0.576,1.754), (0.524,1.702,0.576,1.754), (0.524,1.702,0.576,1.754), (0.524,1.702,0.576,1.754), (0.524,1.702,0.576,1.754), (0.524,1.702,0.576,2.52), (3.668,1.716,3.72,1.824), (2.926,1.746,2.978,1.798), (2.926,1.746,2.978,1.798), (2.926,1.746,2.978,1.798), (2.926,1.746,3.108,1.798), (2.926,1.746,2.978,1.918), (3.056,1.746,3.108,1.798), (3.056,1.746,3.108,1.798), (3.056,1.746,3.108,1.798), (3.056,1.746,3.276,1.798), (3.224,1.746,3.276,1.798), (3.224,1.746,3.276,1.798), (3.224,1.746,3.276,1.798), (3.224,1.746,3.276,1.798), (3.224,1.746,3.276,1.798), (3.224,1.746,3.276,1.798), (3.224,1.746,3.276,1.798), (3.224,1.746,3.276,1.798), (3.224,1.746,3.276,1.798), (3.224,1.746,3.276,1.798), (3.224,1.746,3.276,1.798), (3.224,1.746,3.276,1.798), (3.224,1.746,3.276,1.798), (3.224,1.746,3.276,1.798), (3.224,1.746,3.276,1.798), (3.224,1.746,3.276,1.798), (3.224,1.746,3.276,1.798), (3.224,1.746,3.276,1.798), (3.224,1.746,3.276,1.798), (3.224,1.746,3.466,1.798), (3.414,1.746,3.466,1.798), (3.414,1.746,3.466,1.798), (3.414,1.746,3.466,1.798), (3.414,1.746,3.466,1.798), (3.414,1.746,3.466,1.798), (3.414,1.746,3.606,1.798), (3.554,1.746,3.606,1.798), (3.554,1.746,3.606,1.798), (3.554,1.746,3.606,1.798), (3.554,1.746,3.72,1.798), (2.104,1.784,2.156,2.52), (2.854,1.866,2.978,2.03), (3.244,1.866,3.352,2.03), (2.854,1.894,2.906,1.946), (2.57,1.932,2.678,2.096), (3.244,1.978,3.296,2.03), (3.244,1.978,3.296,2.03), (3.244,1.978,3.296,2.03), (3.244,1.978,3.296,2.03), (3.244,1.978,3.296,2.03), (3.244,1.978,3.296,2.03), (3.244,1.978,3.296,2.03), (3.244,1.978,3.296,2.03), (3.244,1.978,3.296,2.52), (2.626,2.044,2.678,2.096), (2.626,2.044,2.678,2.096), (2.626,2.044,2.678,2.52), (2.214,2.186,2.278,2.294), (2.214,2.214,2.266,2.266), (0,2.468,4,2.56), (0.524,2.468,0.576,2.52), (0.524,2.468,0.576,2.52), (0.852,2.468,0.904,2.52), (0.852,2.468,0.904,2.52), (0.852,2.468,0.904,2.52), (0.852,2.468,0.904,2.52), (0.852,2.468,0.904,2.52), (0.852,2.468,0.904,2.52), (2.104,2.468,2.156,2.52), (2.104,2.468,2.156,2.52), (2.104,2.468,2.156,2.52), (2.104,2.468,2.156,2.52), (2.104,2.468,2.156,2.52), (2.104,2.468,2.156,2.52), (2.104,2.468,2.156,2.52), (2.104,2.468,2.156,2.52), (2.626,2.468,2.678,2.52), (2.626,2.468,2.678,2.52), (2.626,2.468,2.678,2.52), (2.626,2.468,2.678,2.52), (2.626,2.468,2.678,2.52), (2.626,2.468,2.678,2.52), (3.904,2.468,3.956,2.52), (3.904,2.468,3.956,2.52), (3.904,2.468,3.956,2.52), (3.904,2.468,3.956,2.52), (3.904,2.468,3.956,2.52), (3.904,2.468,3.956,2.52)])
R(complex28, boundary, [(0,0,4,2.56)])
complex28.add(gdstk.Label('CL1#A', (0.96,1.12), layer=11, texttype=0))
complex28.add(gdstk.Label('CL1#B', (1.12,1.12), layer=11, texttype=0))
complex28.add(gdstk.Label('CL2#A', (2.08,1.12), layer=11, texttype=0))
complex28.add(gdstk.Label('CL2#B', (1.92,1.12), layer=11, texttype=0))
complex28.add(gdstk.Label('CL3#A', (0.8,1.12), layer=11, texttype=0))
complex28.add(gdstk.Label('CL3#B', (0.64,1.12), layer=11, texttype=0))
complex28.add(gdstk.Label('CL3#C', (0.16,1.12), layer=11, texttype=0))
complex28.add(gdstk.Label('CL3#D', (0.32,1.12), layer=11, texttype=0))
complex28.add(gdstk.Label('CL4#A', (2.24,2.24), layer=11, texttype=0))
complex28.add(gdstk.Label('CL4#Y', (2.88,1.92), layer=11, texttype=0))
complex28.add(gdstk.Label('CL5#B', (3.84,1.12), layer=11, texttype=0))
complex28.add(gdstk.Label('CL6#B', (3.36,1.28), layer=11, texttype=0))
complex28.add(gdstk.Label('CL6#Y', (3.52,1.6), layer=11, texttype=0))

lib.write_gds('COMPLEX28.gds')
